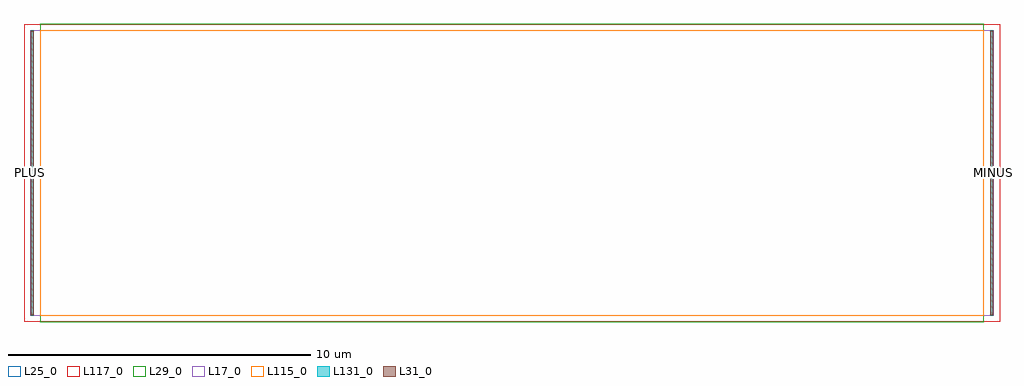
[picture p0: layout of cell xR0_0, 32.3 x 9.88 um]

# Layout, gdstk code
import gdstk
lib = gdstk.Library(unit=1e-6, precision=1e-09)
def R(c, l, rs):  # rectangles x0, y0, x1, y1
    for r in rs: c.add(gdstk.rectangle(r[:2], r[2:], *l))
L17_0 = (17, 0)
L25_0 = (25, 0)
L29_0 = (29, 0)
L31_0 = (31, 0)
L115_0 = (115, 0)
L117_0 = (117, 0)
L131_0 = (131, 0)

xr0_0 = lib.new_cell('xR0_0')
R(xr0_0, L17_0, [(0.2,0.22,32.1,9.66)])
R(xr0_0, L25_0, [(0,0.02,32.3,9.86)])
R(xr0_0, L29_0, [(0.54,0,31.76,9.88)])
R(xr0_0, L31_0, [(0.23,0.235,0.32,9.645), (31.98,0.235,32.07,9.645)])
R(xr0_0, L115_0, [(0.54,0.22,31.76,9.66)])
R(xr0_0, L117_0, [(0,0.02,32.3,9.86)])
R(xr0_0, L131_0, [(0.23,0.22,0.32,9.66), (31.98,0.22,32.07,9.66)])
xr0_0.add(gdstk.Label('PLUS', (0.23,4.955), layer=131, texttype=0))
xr0_0.add(gdstk.Label('MINUS', (32.07,4.955), layer=131, texttype=0))

lib.write_gds('xR0_0.gds')
